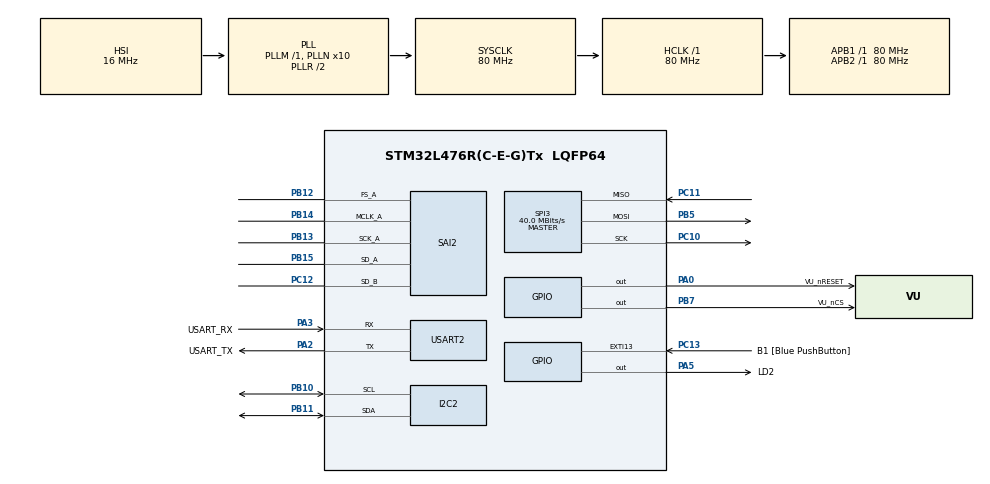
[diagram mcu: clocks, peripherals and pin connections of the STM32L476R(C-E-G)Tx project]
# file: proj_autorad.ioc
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Dma.Request0=SAI2_A
Dma.Request1=SAI2_B
Dma.SAI2_A.0.Direction=DMA_MEMORY_TO_PERIPH
Dma.SAI2_A.0.Instance=DMA1_Channel6
Dma.SAI2_A.0.MemDataAlignment=DMA_MDATAALIGN_WORD
Dma.SAI2_A.0.MemInc=DMA_MINC_ENABLE
Dma.SAI2_A.0.Mode=DMA_CIRCULAR
Dma.SAI2_A.0.PeriphDataAlignment=DMA_PDATAALIGN_WORD
Dma.SAI2_A.0.PeriphInc=DMA_PINC_DISABLE
Dma.SAI2_A.0.Priority=DMA_PRIORITY_LOW
Dma.SAI2_B.1.Direction=DMA_PERIPH_TO_MEMORY
Dma.SAI2_B.1.Instance=DMA1_Channel7
Dma.SAI2_B.1.MemDataAlignment=DMA_MDATAALIGN_WORD
Dma.SAI2_B.1.MemInc=DMA_MINC_ENABLE
Dma.SAI2_B.1.Mode=DMA_CIRCULAR
Dma.SAI2_B.1.PeriphDataAlignment=DMA_PDATAALIGN_WORD
Dma.SAI2_B.1.PeriphInc=DMA_PINC_DISABLE
Dma.SAI2_B.1.Priority=DMA_PRIORITY_LOW
FREERTOS.Tasks01=defaultTask,0,128,StartDefaultTask,Default,NULL,Dynamic,NULL,NULL
I2C2.Timing=0x10D19CE4
Mcu.Family=STM32L4
Mcu.Name=STM32L476R(C-E-G)Tx
Mcu.Package=LQFP64
NVIC.DMA1_Channel6_IRQn=true\:5\:0\:false\:false\:true\:true\:false\:true\:true
NVIC.DMA1_Channel7_IRQn=true\:5\:0\:false\:false\:true\:true\:false\:true\:true
NVIC.PriorityGroup=NVIC_PRIORITYGROUP_4
NVIC.SAI2_IRQn=true\:5\:0\:false\:false\:true\:true\:true\:true\:true
NVIC.USART2_IRQn=true\:5\:0\:false\:false\:true\:true\:true\:true\:true
PA0.GPIO_Label=VU_nRESET
PA0.Signal=GPIO_Output
PA13\ (JTMS-SWDIO).GPIO_Label=TMS
PA13\ (JTMS-SWDIO).Mode=Serial_Wire
PA13\ (JTMS-SWDIO).Signal=SYS_JTMS-SWDIO
PA14\ (JTCK-SWCLK).GPIO_Label=TCK
PA14\ (JTCK-SWCLK).Mode=Serial_Wire
PA14\ (JTCK-SWCLK).Signal=SYS_JTCK-SWCLK
PA2.GPIO_Label=USART_TX
PA2.GPIO_Mode=GPIO_MODE_AF_PP
PA2.GPIO_PuPd=GPIO_NOPULL
PA2.GPIO_Speed=GPIO_SPEED_FREQ_VERY_HIGH
PA2.Mode=Asynchronous
PA2.Signal=USART2_TX
PA3.GPIO_Label=USART_RX
PA3.GPIO_Mode=GPIO_MODE_AF_PP
PA3.GPIO_PuPd=GPIO_NOPULL
PA3.GPIO_Speed=GPIO_SPEED_FREQ_VERY_HIGH
PA3.Mode=Asynchronous
PA3.Signal=USART2_RX
PA5.GPIO_Label=LD2
PA5.GPIO_ModeDefaultOutputPP=GPIO_MODE_OUTPUT_PP
PA5.GPIO_PuPd=GPIO_NOPULL
PA5.GPIO_Speed=GPIO_SPEED_FREQ_LOW
PA5.Signal=GPIO_Output
PB10.Mode=I2C
PB10.Signal=I2C2_SCL
PB11.Mode=I2C
PB11.Signal=I2C2_SDA
PB12.Mode=SAI_A_MasterWithClock
PB12.Signal=SAI2_FS_A
PB13.Mode=SAI_A_MasterWithClock
PB13.Signal=SAI2_SCK_A
PB14.Mode=SAI_A_MasterWithClock
PB14.Signal=SAI2_MCLK_A
PB15.Mode=SAI_A_MasterWithClock
PB15.Signal=SAI2_SD_A
PB3\ (JTDO-TRACESWO).GPIO_Label=SWO
PB3\ (JTDO-TRACESWO).Signal=SYS_JTDO-SWO
PB5.Mode=Full_Duplex_Master
PB5.Signal=SPI3_MOSI
PB7.GPIO_Label=VU_nCS
PB7.Signal=GPIO_Output
PC10.Mode=Full_Duplex_Master
PC10.Signal=SPI3_SCK
PC11.Mode=Full_Duplex_Master
PC11.Signal=SPI3_MISO
PC12.Mode=SAI_B_SyncSlave
PC12.Signal=SAI2_SD_B
PC13.GPIO_Label=B1 [Blue PushButton]
PC13.GPIO_ModeDefaultEXTI=GPIO_MODE_IT_FALLING
PC13.GPIO_PuPd=GPIO_NOPULL
PC13.Signal=GPXTI13
PC14-OSC32_IN\ (PC14).Mode=LSE-External-Oscillator
PC14-OSC32_IN\ (PC14).Signal=RCC_OSC32_IN
PC15-OSC32_OUT\ (PC15).Mode=LSE-External-Oscillator
PC15-OSC32_OUT\ (PC15).Signal=RCC_OSC32_OUT
PH0-OSC_IN\ (PH0).Signal=RCC_OSC_IN
PH1-OSC_OUT\ (PH1).Signal=RCC_OSC_OUT
ProjectManager.HeapSize=0x200
ProjectManager.StackSize=0x400
ProjectManager.TargetToolchain=STM32CubeIDE
RCC.ADCFreq_Value=104000000
RCC.AHBFreq_Value=80000000
RCC.APB1Freq_Value=80000000
RCC.APB1TimFreq_Value=80000000
RCC.APB2Freq_Value=80000000
RCC.APB2TimFreq_Value=80000000
RCC.CortexFreq_Value=80000000
RCC.HCLKFreq_Value=80000000
RCC.HSE_VALUE=8000000
RCC.HSI_VALUE=16000000
RCC.MSI_VALUE=4000000
RCC.PLLN=10
RCC.PLLSAI1N=13
RCC.PLLSAI1P=RCC_PLLP_DIV17
RCC.PLLSAI2N=13
RCC.PLLSAI2P=RCC_PLLP_DIV17
RCC.PLLSourceVirtual=RCC_PLLSOURCE_HSI
RCC.PREFETCH_ENABLE=1
RCC.SYSCLKFreq_VALUE=80000000
RCC.SYSCLKSource=RCC_SYSCLKSOURCE_PLLCLK
RCC.USBFreq_Value=104000000
RCC.VCOOutputFreq_Value=160000000
SAI2.AudioFrequency-SAI_A_MasterWithClock=SAI_AUDIO_FREQUENCY_48K
SAI2.ErrorAudioFreq-SAI_A_MasterWithClock=-0.42 %
SAI2.InitProtocol-SAI_A_MasterWithClock=Enable
SAI2.InitProtocol-SAI_B_SyncSlave=Enable
SAI2.Instance-SAI_A_MasterWithClock=SAI$Index_Block_A
SAI2.Instance-SAI_B_SyncSlave=SAI$Index_Block_B
SAI2.MClockEnable-SAI_A_MasterWithClock=SAI_MASTERCLOCK_ENABLE
SAI2.RealAudioFreq-SAI_A_MasterWithClock=47.794 KHz
SAI2.VirtualMode-SAI_A_MasterWithClock=VM_MASTER
SAI2.VirtualMode-SAI_B_SyncSlave=VM_SLAVE
SAI2.VirtualProtocol-SAI_A_BASIC=VM_BASIC_PROTOCOL
SAI2.VirtualProtocol-SAI_B_BASIC=VM_BASIC_PROTOCOL
SPI3.CalculateBaudRate=40.0 MBits/s
SPI3.DataSize=SPI_DATASIZE_8BIT
SPI3.Direction=SPI_DIRECTION_2LINES
SPI3.Mode=SPI_MODE_MASTER
SPI3.VirtualType=VM_MASTER
USART2.VirtualMode-Asynchronous=VM_ASYNC
VP_FREERTOS_VS_CMSIS_V1.Mode=CMSIS_V1
VP_SAI2_VP_$IpInstance_SAIA_SAI_BASIC.Mode=SAI_A_BASIC
VP_SAI2_VP_$IpInstance_SAIB_SAI_BASIC.Mode=SAI_B_BASIC
board=NUCLEO-L476RG

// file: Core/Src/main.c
/* USER CODE BEGIN Header */
/**
 ******************************************************************************
 * @file           : main.c
 * @brief          : Main program body
 ******************************************************************************
 * @attention
 *
 * Copyright (c) 2024 STMicroelectronics.
 * All rights reserved.
 *
 * This software is licensed under terms that can be found in the LICENSE file
 * in the root directory of this software component.
 * If no LICENSE file comes with this software, it is provided AS-IS.
 *
 ******************************************************************************
 */
/* USER CODE END Header */
#include "main.h"
#include "cmsis_os.h"
#include "dma.h"
#include "i2c.h"
#include "sai.h"
#include "spi.h"
#include "usart.h"
#include "gpio.h"

/* USER CODE BEGIN Includes */
#include "shell.h"
#include "drv_uart1.h"
#include <stdio.h>
#include "../drivers/drv_MCP.h"

/* USER CODE END Includes */

/* USER CODE BEGIN PD */
#define TASK_SHELL_STACK_SIZE 512
#define TASK_SHELL_PRIORITY 1
#define TRIANGLE_SAMPLES 1024 // Number of samples for the triangular waveform
/* USER CODE END PD */

/* USER CODE BEGIN PV */
TaskHandle_t h_task_shell;
h_shell_t h_sh;

uint8_t rx_byte;

uint16_t triangleWave[TRIANGLE_SAMPLES];

/* USER CODE END PV */

void SystemClock_Config(void);
void PeriphCommonClock_Config(void);
void MX_FREERTOS_Init(void);
/* USER CODE BEGIN PFP */
int __io_putchar(int ch)
{
	HAL_UART_Transmit(&huart2, (uint8_t*)&ch, 1, HAL_MAX_DELAY);

	return ch;
}

void test_chenillard(int delay)
{

	xpdr_Init();
	int i = 0;

	for (;;)
	{
		Set_LEDs(~(1 << i%8 | ((1 << i%8) << 8)));
		i++;
		vTaskDelay( delay / portTICK_PERIOD_MS );  // Délai de duree en Dms
	}
}

void tache_shell(void * unused)
{
	//xSemaphoreTake(sem1, portMAX_DELAY); artefact question a) pour prendre le semaphore sans interruption

	printf("tache Shell\r\n");
	xpdr_Init();

	// Test des fonctions de contrôle des LEDs
	Set_LED_id(4);  // Allume la LED 4
	HAL_Delay(1000);  // Attendre 1 seconde

	Toggle_LED_id(4);  // Inverse l'état de la LED 4
	HAL_Delay(1000);  // Attendre 1 seconde

	Set_LEDs(0xFFFF);  // Allume toutes les LEDs
	HAL_Delay(1000);  // Attendre 1 seconde

	Set_LEDs(0x0000);  // Éteint toutes les LEDs
	HAL_Delay(1000);  // Attendre 1 seconde

	test_chenillard(100);
	h_sh.drv.receive = drv_uart1_receive;
	h_sh.drv.transmit = drv_uart1_transmit;

	shell_init(&h_sh);

	shell_run(&h_sh);

}

void GenerateTriangleWave(uint16_t* buffer, uint16_t length, uint16_t amplitude) {
    // Divisez la longueur par 2 pour une montée et une descente complètes
    uint16_t halfLength = length/2;
    uint16_t step = amplitude / halfLength; // Pas pour chaque demi-période
    uint16_t value = 0;
    int8_t direction = 1; // Direction initiale (montée)

    for (uint16_t i = 0; i < length; i++) {
        buffer[i] = value;

        // Mise à jour de la valeur
        value += step * direction;

        // Inversion de direction aux limites
        if (value >= amplitude) {
            value = amplitude; // Sature à l'amplitude
            direction = -1;    // Inverse la direction (descente)
        } else if (value == 0 && direction == -1) {
            direction = 1;     // Inverse la direction (montée)
        }
    }
}

//// TODO a bouger dans le main
//void HAL_UART_RxCpltCallback(UART_HandleTypeDef *huart) {
//
//	// on appelle simplement la fonction callback du drv_uart
//	//drv_uart_callback_give(semain);// création et give du sémaphore
//
//
//	//..
//	BaseType_t higher_priority_task_woken = pdFALSE;
//	xSemaphoreGiveFromISR(semain, &higher_priority_task_woken);
//
//
//	portYIELD_FROM_ISR(higher_priority_task_woken);
//	//..
//	// Relancer la réception pour le prochain octet <= pas la peine
//	//HAL_UART_Receive_IT(&huart2, &rx_byte, 1);
//
//}

/* USER CODE END PFP */

int main(void)
{

	/* MCU Configuration--------------------------------------------------------*/

	/* Reset of all peripherals, Initializes the Flash interface and the Systick. */
	HAL_Init();

	/* Configure the system clock */
	SystemClock_Config();

	/* Configure the peripherals common clocks */
	PeriphCommonClock_Config();

	/* Initialize all configured peripherals */
	MX_GPIO_Init();
	MX_DMA_Init();
	MX_USART2_UART_Init();
	MX_SPI3_Init();
	MX_I2C2_Init();
	MX_SAI2_Init();
	/* USER CODE BEGIN 2 */
	__HAL_SAI_ENABLE(&hsai_BlockA2);
	__HAL_SAI_ENABLE(&hsai_BlockB2);

	__HAL_RCC_SAI2_CLK_ENABLE();
	__HAL_RCC_DMA2_CLK_ENABLE();
	SGTL5000_Init();

	GenerateTriangleWave(triangleWave, TRIANGLE_SAMPLES, 0X7FFF);
	xTaskCreate(tache_shell, "Shell", TASK_SHELL_STACK_SIZE, NULL, TASK_SHELL_PRIORITY, &h_task_shell);

	//vTaskDelay(10);

	vTaskStartScheduler();
	/* USER CODE END 2 */

	/* Call init function for freertos objects (in cmsis_os2.c) */
	MX_FREERTOS_Init();

	/* Start scheduler */
	osKernelStart();

	/* We should never get here as control is now taken by the scheduler */

	/* Infinite loop */
	/* USER CODE BEGIN WHILE */
	while (1)
	{
		//		printf ("test v1.2 printf\r\n");
		//		HAL_GPIO_TogglePin(GPIOA,LD2_Pin);
		//		HAL_Delay(1000);

		/* USER CODE END WHILE */

	}
}

void SystemClock_Config(void)
{
	RCC_OscInitTypeDef RCC_OscInitStruct = {0};
	RCC_ClkInitTypeDef RCC_ClkInitStruct = {0};

	/** Configure the main internal regulator output voltage
	 */
	if (HAL_PWREx_ControlVoltageScaling(PWR_REGULATOR_VOLTAGE_SCALE1) != HAL_OK)
	{
		Error_Handler();
	}

	/** Initializes the RCC Oscillators according to the specified parameters
	 * in the RCC_OscInitTypeDef structure.
	 */
	RCC_OscInitStruct.OscillatorType = RCC_OSCILLATORTYPE_HSI;
	RCC_OscInitStruct.HSIState = RCC_HSI_ON;
	RCC_OscInitStruct.HSICalibrationValue = RCC_HSICALIBRATION_DEFAULT;
	RCC_OscInitStruct.PLL.PLLState = RCC_PLL_ON;
	RCC_OscInitStruct.PLL.PLLSource = RCC_PLLSOURCE_HSI;
	RCC_OscInitStruct.PLL.PLLM = 1;
	RCC_OscInitStruct.PLL.PLLN = 10;
	RCC_OscInitStruct.PLL.PLLP = RCC_PLLP_DIV7;
	RCC_OscInitStruct.PLL.PLLQ = RCC_PLLQ_DIV2;
	RCC_OscInitStruct.PLL.PLLR = RCC_PLLR_DIV2;
	if (HAL_RCC_OscConfig(&RCC_OscInitStruct) != HAL_OK)
	{
		Error_Handler();
	}

	/** Initializes the CPU, AHB and APB buses clocks
	 */
	RCC_ClkInitStruct.ClockType = RCC_CLOCKTYPE_HCLK|RCC_CLOCKTYPE_SYSCLK
			|RCC_CLOCKTYPE_PCLK1|RCC_CLOCKTYPE_PCLK2;
	RCC_ClkInitStruct.SYSCLKSource = RCC_SYSCLKSOURCE_PLLCLK;
	RCC_ClkInitStruct.AHBCLKDivider = RCC_SYSCLK_DIV1;
	RCC_ClkInitStruct.APB1CLKDivider = RCC_HCLK_DIV1;
	RCC_ClkInitStruct.APB2CLKDivider = RCC_HCLK_DIV1;

	if (HAL_RCC_ClockConfig(&RCC_ClkInitStruct, FLASH_LATENCY_4) != HAL_OK)
	{
		Error_Handler();
	}
}

void PeriphCommonClock_Config(void)
{
	RCC_PeriphCLKInitTypeDef PeriphClkInit = {0};

	/** Initializes the peripherals clock
	 */
	PeriphClkInit.PeriphClockSelection = RCC_PERIPHCLK_SAI2;
	PeriphClkInit.Sai2ClockSelection = RCC_SAI2CLKSOURCE_PLLSAI1;
	PeriphClkInit.PLLSAI1.PLLSAI1Source = RCC_PLLSOURCE_HSI;
	PeriphClkInit.PLLSAI1.PLLSAI1M = 1;
	PeriphClkInit.PLLSAI1.PLLSAI1N = 13;
	PeriphClkInit.PLLSAI1.PLLSAI1P = RCC_PLLP_DIV17;
	PeriphClkInit.PLLSAI1.PLLSAI1Q = RCC_PLLQ_DIV2;
	PeriphClkInit.PLLSAI1.PLLSAI1R = RCC_PLLR_DIV2;
	PeriphClkInit.PLLSAI1.PLLSAI1ClockOut = RCC_PLLSAI1_SAI1CLK;
	if (HAL_RCCEx_PeriphCLKConfig(&PeriphClkInit) != HAL_OK)
	{
		Error_Handler();
	}
}

void Error_Handler(void)
{
	__disable_irq();
	while (1)
	{
	}
}
